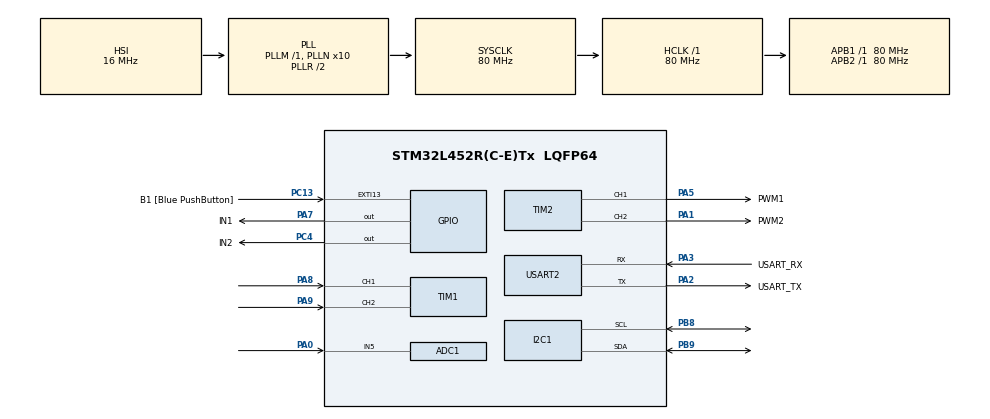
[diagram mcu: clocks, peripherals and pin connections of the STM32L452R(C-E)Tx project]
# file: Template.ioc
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ADC1.Channel-0\#ChannelRegularConversion=ADC_CHANNEL_5
ADC1.ClockPrescaler=ADC_CLOCK_ASYNC_DIV8
ADC1.NbrOfConversionFlag=1
ADC1.OffsetNumber-0\#ChannelRegularConversion=ADC_OFFSET_NONE
ADC1.Rank-0\#ChannelRegularConversion=1
ADC1.SamplingTime-0\#ChannelRegularConversion=ADC_SAMPLETIME_12CYCLES_5
ADC1.master=1
I2C1.Timing=0x10D19CE4
Mcu.Family=STM32L4
Mcu.Name=STM32L452R(C-E)Tx
Mcu.Package=LQFP64
Mcu.UserConstants=PRESCALER_VALUE,(800-1);COUNTER_PERIOD_VALUE,(10000-1)
NVIC.PriorityGroup=NVIC_PRIORITYGROUP_4
PA0.Signal=ADCx_IN5
PA1.GPIO_Label=PWM2
PA1.Signal=S_TIM2_CH2
PA13\ (JTMS/SWDIO).GPIO_Label=TMS
PA13\ (JTMS/SWDIO).Mode=Serial_Wire
PA13\ (JTMS/SWDIO).Signal=SYS_JTMS-SWDIO
PA14\ (JTCK/SWCLK).GPIO_Label=TCK
PA14\ (JTCK/SWCLK).Mode=Serial_Wire
PA14\ (JTCK/SWCLK).Signal=SYS_JTCK-SWCLK
PA2.GPIO_Label=USART_TX
PA2.GPIO_Mode=GPIO_MODE_AF_PP
PA2.GPIO_PuPd=GPIO_NOPULL
PA2.GPIO_Speed=GPIO_SPEED_FREQ_VERY_HIGH
PA2.Mode=Asynchronous
PA2.Signal=USART2_TX
PA3.GPIO_Label=USART_RX
PA3.GPIO_Mode=GPIO_MODE_AF_PP
PA3.GPIO_PuPd=GPIO_NOPULL
PA3.GPIO_Speed=GPIO_SPEED_FREQ_VERY_HIGH
PA3.Mode=Asynchronous
PA3.Signal=USART2_RX
PA5.GPIO_Label=PWM1
PA5.Signal=S_TIM2_CH1
PA7.GPIO_Label=IN1
PA7.Signal=GPIO_Output
PA8.Signal=S_TIM1_CH1
PA9.Signal=S_TIM1_CH2
PB3\ (JTDO/TRACESWO).GPIO_Label=SWO
PB3\ (JTDO/TRACESWO).Signal=SYS_JTDO-SWO
PB8.Mode=I2C
PB8.Signal=I2C1_SCL
PB9.Mode=I2C
PB9.Signal=I2C1_SDA
PC13.GPIO_Label=B1 [Blue PushButton]
PC13.GPIO_ModeDefaultEXTI=GPIO_MODE_IT_FALLING
PC13.GPIO_PuPd=GPIO_NOPULL
PC13.Signal=GPXTI13
PC14-OSC32_IN\ (PC14).Mode=LSE-External-Oscillator
PC14-OSC32_IN\ (PC14).Signal=RCC_OSC32_IN
PC15-OSC32_OUT\ (PC15).Mode=LSE-External-Oscillator
PC15-OSC32_OUT\ (PC15).Signal=RCC_OSC32_OUT
PC4.GPIO_Label=IN2
PC4.Signal=GPIO_Output
PH0-OSC_IN\ (PH0).Signal=RCC_OSC_IN
PH1-OSC_OUT\ (PH1).Signal=RCC_OSC_OUT
ProjectManager.HeapSize=0x200
ProjectManager.StackSize=0x400
ProjectManager.TargetToolchain=STM32CubeIDE
RCC.ADCFreq_Value=64000000
RCC.AHBFreq_Value=80000000
RCC.APB1Freq_Value=80000000
RCC.APB1TimFreq_Value=80000000
RCC.APB2Freq_Value=80000000
RCC.APB2TimFreq_Value=80000000
RCC.CortexFreq_Value=80000000
RCC.HCLKFreq_Value=80000000
RCC.HSE_VALUE=8000000
RCC.HSI48_VALUE=48000000
RCC.HSI_VALUE=16000000
RCC.MSI_VALUE=4000000
RCC.PLLN=10
RCC.PLLSourceVirtual=RCC_PLLSOURCE_HSI
RCC.PREFETCH_ENABLE=1
RCC.SYSCLKFreq_VALUE=80000000
RCC.SYSCLKSource=RCC_SYSCLKSOURCE_PLLCLK
RCC.USBFreq_Value=64000000
RCC.VCOOutputFreq_Value=160000000
SH.ADCx_IN5.0=ADC1_IN5,IN5-Single-Ended
SH.S_TIM1_CH1.0=TIM1_CH1,Encoder_Interface
SH.S_TIM1_CH2.0=TIM1_CH2,Encoder_Interface
SH.S_TIM2_CH1.0=TIM2_CH1,PWM Generation1 CH1
SH.S_TIM2_CH2.0=TIM2_CH2,PWM Generation2 CH2
TIM1.EncoderMode=TIM_ENCODERMODE_TI12
TIM2.Channel-PWM\ Generation1\ CH1=TIM_CHANNEL_1
TIM2.Channel-PWM\ Generation2\ CH2=TIM_CHANNEL_2
TIM2.Period=COUNTER_PERIOD_VALUE
TIM2.Prescaler=PRESCALER_VALUE
USART2.VirtualMode-Asynchronous=VM_ASYNC
board=NUCLEO-L452RE

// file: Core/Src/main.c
/* USER CODE BEGIN Header */
/**
  ******************************************************************************
  * @file           : main.c
  * @brief          : Main program body
  ******************************************************************************
  * @attention
  *
  * Copyright (c) 2022 STMicroelectronics.
  * All rights reserved.
  *
  * This software is licensed under terms that can be found in the LICENSE file
  * in the root directory of this software component.
  * If no LICENSE file comes with this software, it is provided AS-IS.
  *
  ******************************************************************************
  */

/* FOO */

/* USER CODE END Header */
#include "main.h"
#include "adc.h"
#include "i2c.h"
#include "tim.h"
#include "usart.h"
#include "gpio.h"

/* USER CODE BEGIN Includes */
#include <stdio.h>
#include "gpio_if.h"
#include "adc_if.h"
#include "pwm.h"
#include "lsm6ds3.h"
#include "encoder.h"
#include "controler.h"

  //MotorState* motorS;

/* USER CODE END Includes */

/* USER CODE BEGIN PD */
#define TX_TIMEOUT_MS  100   /**< Transmission time timeout over UART */
#define DELAY_MS       100   /**< Delay timeout */
#define GPIO_LD2_ENABLED 0 /**< Use LD2 as GPIO driven LED. It needs special config in IOC */

/* USER CODE END PD */

void SystemClock_Config(void);

/* USER CODE BEGIN 0 */

SPid pid;

/* USER CODE END 0 */

int main(void)
{

  /* USER CODE BEGIN 1 */
#if GPIO_LD2_ENABLED
  t_gpio_pin user_led_pin = {LD4_GPIO_Port, LD4_Pin};
  t_gpio_if user_led;
#endif
  t_gpio_pin user_button_pin = {B1_GPIO_Port, B1_Pin};
  t_gpio_if user_button;
  t_adc_if potentiometer;
  t_pwm PWM1;
  t_pwm PWM2;
  uint8_t adc_rate;
  t_encoder encoder;
  uint8_t pwmOutput1 = 0;
  uint8_t pwmOutput2 = 0;
  uint8_t* pwmOutput1_ptr = &pwmOutput1;
  uint8_t* pwmOutput2_ptr = &pwmOutput2;
  /* USER CODE END 1 */

  /* MCU Configuration--------------------------------------------------------*/

  /* Reset of all peripherals, Initializes the Flash interface and the Systick. */
  HAL_Init();

  /* Configure the system clock */
  SystemClock_Config();

  /* Initialize all configured peripherals */
  MX_GPIO_Init();
  MX_USART2_UART_Init();
  MX_ADC1_Init();
  MX_TIM2_Init();
  MX_I2C1_Init();
  MX_TIM1_Init();

  /* Infinite loop */
  /* USER CODE BEGIN WHILE */

  /* Init custom GPIO */
#if GPIO_LD2_ENABLED
  gpio_if_init(&user_led, ACTIVE_HIGH, &user_led_pin, GPIO_IF_CLEAR);
  if (gpio_if_open(&user_led) != GPIO_IF_SUCCESS)
  {
    Error_Handler();
  }
#endif
  gpio_if_init(&user_button, ACTIVE_LOW, &user_button_pin, GPIO_IF_INPUT);
  if (gpio_if_open(&user_button) != GPIO_IF_SUCCESS)
  {
    Error_Handler();
  }

  /* Init custom ADC */
  adc_if_init(&potentiometer, &hadc1);
  if (adc_if_open(&potentiometer) != ADC_IF_SUCCESS)
  {
    Error_Handler();
  }

  pid.derState = 0,
  pid.integratState = 0,
  pid.integratMax = 100,
  pid.integratMin = -100,
  pid.integratGain = 0.01,
  pid.propGain = 0.5,
  pid.derGain = 0.001;

  /* Init PWM */
  pwm_init(&PWM1, &htim2, TIM_CHANNEL_1, COUNTER_PERIOD_VALUE);
  if (pwm_open(&PWM1) != PWM_SUCCESS)
  {
    Error_Handler();
  }

  pwm_init(&PWM2, &htim2, TIM_CHANNEL_2, COUNTER_PERIOD_VALUE);
  if (pwm_open(&PWM2) != PWM_SUCCESS)
  {
    Error_Handler();
  }
  encoder_init(&encoder, &htim1, TIM_CHANNEL_ALL, COUNTER_PERIOD_VALUE);
  if (encoder_open(&encoder) != ENCODER_SUCCESS) {
    Error_Handler();
  }

  //motor_data motordata;
  MotorState motorState;
   motor_data motordata;
  motor_data* motor=&motordata;
  MotorState* motorS;

  //MotorState motorState;
  motorS=&motorState;
  motorS->target = 0;
  motorS->position = 0;
  motorS->direction = 0;
  motorS->tilt = 0;

  encoder_start(&encoder);
  __HAL_TIM_SET_COUNTER(&htim1, 32000);
  encoder_read(&encoder, &motor->position, &motor->direction);
  //printf("Encoder position: %lu\r\n", motor->position);
  //printf("Encoder direction: %lu\r\n", motor->direction);
  //encoder_to_degrees(motor->position);
  //printf("Encoder position in degrees: %f\r\n", encoder_to_degrees(motor->position));
  lsm6ds3_init();

  int state = 0;

  /* Welcome message */
  //printf("ELO301 Demo Init\r\n");
  lsm6ds3_accelerometer_mode();
  accel_data acceldata;
  accel_data* data=&acceldata;
  lsm6ds3_read_accelerometer(&data);

  int button_pressed = 0;

  while (1)
  {
#if GPIO_LD2_ENABLED
    /* Blink user LED */
    gpio_if_toggle(&user_led);
#endif
    if (adc_if_get_rate(&potentiometer, &adc_rate) != ADC_IF_SUCCESS)
    {
      Error_Handler();
    }

    if (gpio_if_get(&user_button) == GPIO_PIN_SET) {
      if (!button_pressed) {
        state = !state;
        button_pressed = 1;
      }
    } else {
      button_pressed = 0;
    }

    if (state == 0) {
      lsm6ds3_read_accelerometer(&data);
      motorS->tilt = lsm6ds3_g_to_degrees(data->x, data->y, data->z);
      encoder_read(&encoder, &motor->position, &motor->direction);
      motorS->position = encoder_to_degrees(motor->position);
      uint32_t scale = 2*adc_rate;
      motorS->target = -motorS->tilt + 180.0 + scale;
      StabilizeMotor(motorS, &pid, pwmOutput1_ptr, pwmOutput2_ptr);

    } else {
      pwmOutput1 = adc_rate;
      pwmOutput2 = 0.0;
    }

    pwm_update(&PWM1, pwmOutput1);
    pwm_update(&PWM2, pwmOutput2);
    // Turn IN1_motor on
    HAL_GPIO_WritePin(IN1_GPIO_Port, IN1_Pin, GPIO_PIN_SET);
    HAL_GPIO_WritePin(IN2_GPIO_Port, IN2_Pin, GPIO_PIN_RESET);

    HAL_Delay(DELAY_MS/2);

    /* Print message */
    //printf("Button: %u\r\n", gpio_if_get(&user_button));

    /* Read LSM6DS3 driver */
    /*if (lsm6ds3_update())
    {
      printf( "LSM6DS3 updated\r\n" );
    }
    lsm6ds3_read_accelerometer(&data);
    //printf("Accelerometer:\n x: %G\n y: %G\n z: %G\r\n", data->x, data->y, data->z);
    printf("%G\t%G\t%G\r\n", data->x, data->y, data->z);
    */
    /* USER CODE END WHILE */

  }
}

void SystemClock_Config(void)
{
  RCC_OscInitTypeDef RCC_OscInitStruct = {0};
  RCC_ClkInitTypeDef RCC_ClkInitStruct = {0};

  /** Configure the main internal regulator output voltage
  */
  if (HAL_PWREx_ControlVoltageScaling(PWR_REGULATOR_VOLTAGE_SCALE1) != HAL_OK)
  {
    Error_Handler();
  }

  /** Initializes the RCC Oscillators according to the specified parameters
  * in the RCC_OscInitTypeDef structure.
  */
  RCC_OscInitStruct.OscillatorType = RCC_OSCILLATORTYPE_HSI;
  RCC_OscInitStruct.HSIState = RCC_HSI_ON;
  RCC_OscInitStruct.HSICalibrationValue = 64;
  RCC_OscInitStruct.PLL.PLLState = RCC_PLL_ON;
  RCC_OscInitStruct.PLL.PLLSource = RCC_PLLSOURCE_HSI;
  RCC_OscInitStruct.PLL.PLLM = 1;
  RCC_OscInitStruct.PLL.PLLN = 10;
  RCC_OscInitStruct.PLL.PLLP = RCC_PLLP_DIV7;
  RCC_OscInitStruct.PLL.PLLQ = RCC_PLLQ_DIV2;
  RCC_OscInitStruct.PLL.PLLR = RCC_PLLR_DIV2;
  if (HAL_RCC_OscConfig(&RCC_OscInitStruct) != HAL_OK)
  {
    Error_Handler();
  }

  /** Initializes the CPU, AHB and APB buses clocks
  */
  RCC_ClkInitStruct.ClockType = RCC_CLOCKTYPE_HCLK|RCC_CLOCKTYPE_SYSCLK
                              |RCC_CLOCKTYPE_PCLK1|RCC_CLOCKTYPE_PCLK2;
  RCC_ClkInitStruct.SYSCLKSource = RCC_SYSCLKSOURCE_PLLCLK;
  RCC_ClkInitStruct.AHBCLKDivider = RCC_SYSCLK_DIV1;
  RCC_ClkInitStruct.APB1CLKDivider = RCC_HCLK_DIV1;
  RCC_ClkInitStruct.APB2CLKDivider = RCC_HCLK_DIV1;

  if (HAL_RCC_ClockConfig(&RCC_ClkInitStruct, FLASH_LATENCY_4) != HAL_OK)
  {
    Error_Handler();
  }
}

/* USER CODE BEGIN 4 */

/**
 * @brief Function that bridges HAL with printf
 * @param file Not in use
 * @param ptr Pointer to data to be printed out
 * @param len Length of the data to be printed out
 * @return len
 */
int _write(int file, char *ptr, int len)
{
  if (HAL_UART_Transmit(&huart2, (uint8_t *)ptr, len, TX_TIMEOUT_MS) != HAL_OK)
  {
    Error_Handler();
  }

  return len;
}

/* USER CODE END 4 */

void Error_Handler(void)
{
  __disable_irq();
  while (1)
  {
  }
}
